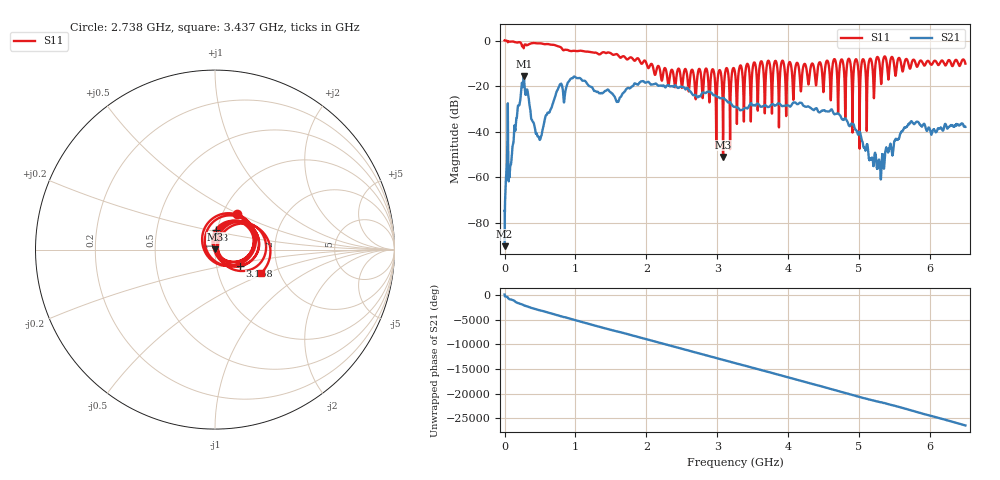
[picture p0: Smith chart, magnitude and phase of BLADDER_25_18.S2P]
!Keysight Technologies,E5063A,MY54503115,A.05.08
!Date: Sun Feb 04 18:47:08 2024
!Data & Calibration Information:
!Freq	S11:NONE(--)	S21:NONE(--)	S12:NONE(--)	S22:NONE(--)
# Hz S dB R 50
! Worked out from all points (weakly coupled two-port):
!   10001 points, 100 kHz to 6.5 GHz, reference 50 ohm
!   highest |S21| = -15.58 dB at 269.2 MHz (marker M1); lowest = -90.2 dB at 100 kHz (marker M2)
!   lowest |S11| = -51.0 dB at 3.082 GHz (marker M3), VSWR 1.01, Z = 50.2 + j0.164 ohm
!   |S11| at or under -10 dB: 2 GHz to 3.512 GHz (1.512 GHz wide, 54.9 % of centre); 4.034 GHz to 4.117 GHz (83.67 MHz wide, 2.05 % of centre); 4.135 GHz to 4.433 GHz (298.2 MHz wide, 6.96 % of centre) (the widest 3 of 30)
!   S12 and S22 are empty: the file has one direction only
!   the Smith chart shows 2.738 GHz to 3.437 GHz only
!   S11 on the Smith chart (normalised r, x): 2.738 GHz: 1.17, +0.49; 3 GHz: 0.99, +0.22; 3.158 GHz: 1.29, -0.25; 3.437 GHz: 1.61, -0.46
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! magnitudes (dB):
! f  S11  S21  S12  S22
! 100 kHz  0.0  -90.2  -  -
! 38.45 MHz  -0.2  -46.4  -  -
! 269.2 MHz  -3.4  -15.6  -  -
! 490.8 MHz  -1.2  -43.3  -  -
! 771.6 MHz  -2.7  -19.9  -  -
! 1.084 GHz  -4.5  -17.1  -  -
! 1.591 GHz  -6.1  -26.9  -  -
! 2.167 GHz  -11.1  -19.8  -  -
! 2.738 GHz  -12.7  -24.4  -  -
! 3 GHz  -19.2  -24.7  -  -
! 3.082 GHz  -51.0  -25.1  -  -
! 3.158 GHz  -15.5  -27.2  -  -
! 3.25 GHz  -14.1  -29.1  -  -
! 3.437 GHz  -10.8  -29.3  -  -
! 4.334 GHz  -10.2  -30.0  -  -
! 4.805 GHz  -33.6  -34.1  -  -
! 4.857 GHz  -8.0  -37.3  -  -
! 4.912 GHz  -24.0  -36.6  -  -
! 5.283 GHz  -8.8  -52.4  -  -
! 5.417 GHz  -16.6  -48.4  -  -
! 5.729 GHz  -11.6  -35.5  -  -
! 6.5 GHz  -10.1  -37.9  -  -
